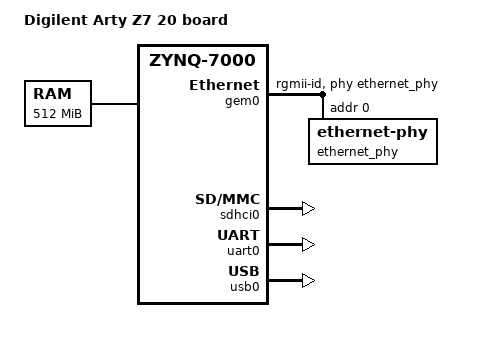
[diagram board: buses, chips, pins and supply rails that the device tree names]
/dts-v1/;
#include "zynq-7000.dtsi"

/ {
	model = "Digilent Arty Z7 20 board";
	compatible = "xlnx,zynq-7000";

	aliases {
		ethernet0 = &gem0;
		serial0 = &uart0;
		mmc0 = &sdhci0;
	};

	memory@0 {
		device_type = "memory";
		reg = <0x0 0x20000000>;
	};

	chosen {
		bootargs = "console=ttyPS0,115200 earlyprintk root=/dev/mmcblk0p2 rw rootwait";
		stdout-path = "serial0:115200n8";
	};

};

&clkc {
	ps-clk-frequency = <0x2faf080>;
};

&gem0 {
	status = "okay";
	phy-mode = "rgmii-id";
	phy-handle = <&ethernet_phy>;

	ethernet_phy: ethernet-phy@0 {
		reg = <0>;
	};
};

&sdhci0 {
	bootph-all;
	status = "okay";
};

&uart0 {
	bootph-all;
	status = "okay";
};

&usb0 {
    bootph-all;
	status = "okay";
};
